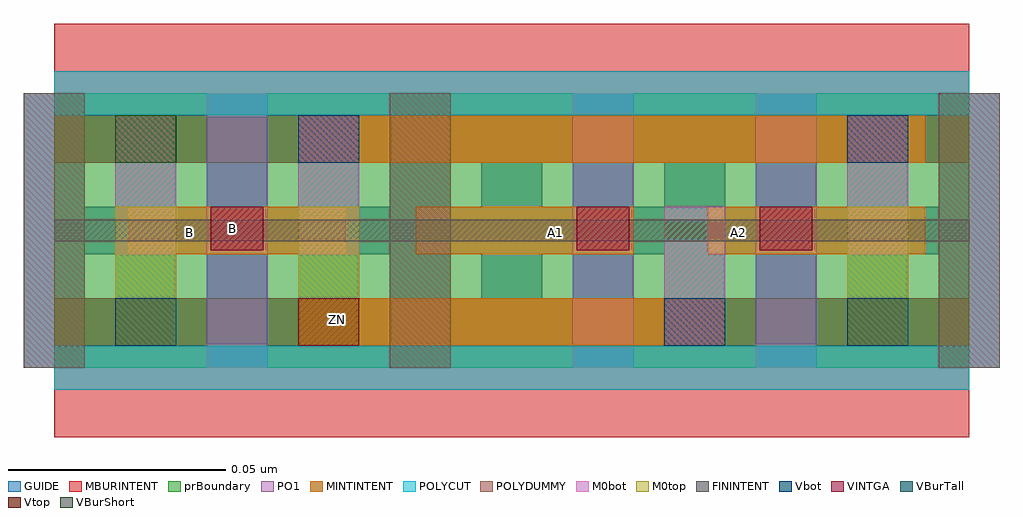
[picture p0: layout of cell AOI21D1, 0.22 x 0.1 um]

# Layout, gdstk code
import gdstk
lib = gdstk.Library(unit=1e-6, precision=1e-09)
def R(c, l, rs):  # rectangles x0, y0, x1, y1
    for r in rs: c.add(gdstk.rectangle(r[:2], r[2:], *l))
def A(c, l, x, y, w, h, nx, ny, dx, dy):  # array of equal rectangles
    R(c, l, [(x+i*dx, y+j*dy, x+i*dx+w, y+j*dy+h) for i in range(nx) for j in range(ny)])
MBURINTENT = (1, 0)
FININTENT = (2, 0)
PO1 = (10, 0)
POLYDUMMY = (11, 0)
POLYCUT = (12, 0)
M0bot = (20, 0)
M0top = (21, 0)
VBurShort = (30, 0)
VBurTall = (31, 0)
Vbot = (40, 0)
Vtop = (41, 0)
VINTGA = (42, 0)
MINTINTENT = (50, 0)
prBoundary = (100, 0)
GUIDE = (200, 0)

aoi21d1 = lib.new_cell('AOI21D1')
R(aoi21d1, MBURINTENT, [(0,-0.016,0.21,0.016), (0,0.047,0.21,0.079)])
R(aoi21d1, FININTENT, [(0,0.029,0.21,0.034)])
R(aoi21d1, PO1, [(0.035,0,0.049,0.063), (0.035,0,0.049,0.063), (0.119,0,0.133,0.063), (0.119,0,0.133,0.063), (0.161,0,0.175,0.063)])
R(aoi21d1, POLYDUMMY, [(-0.007,0,0.007,0.063), (0.077,0,0.091,0.063), (0.203,0,0.217,0.063)])
R(aoi21d1, POLYCUT, [(0,-0.005,0.21,0.005), (0,0.058,0.21,0.068)])
R(aoi21d1, M0bot, [(0.14,0.005,0.154,0.037), (0.014,0.026,0.028,0.058), (0.056,0.026,0.07,0.058), (0.182,0.026,0.196,0.058)])
R(aoi21d1, M0top, [(0.014,0.005,0.028,0.037), (0.056,0.005,0.07,0.037), (0.182,0.005,0.196,0.037)])
R(aoi21d1, VBurShort, [(0.014,0.047,0.028,0.058)])
R(aoi21d1, VBurTall, [(0.014,0.005,0.028,0.016), (0.182,0.005,0.196,0.016)])
R(aoi21d1, Vbot, [(0.14,0.005,0.154,0.016), (0.056,0.047,0.07,0.058), (0.182,0.047,0.196,0.058)])
R(aoi21d1, Vtop, [(0.056,0.005,0.07,0.016)])
R(aoi21d1, VINTGA, [(0.036,0.027,0.048,0.037), (0.12,0.027,0.132,0.037), (0.162,0.027,0.174,0.037)])
R(aoi21d1, MINTINTENT, [(0.056,0.005,0.154,0.016), (0.017,0.026,0.067,0.037), (0.083,0.026,0.133,0.037), (0.15,0.026,0.2,0.037), (0.056,0.047,0.2,0.058)])
R(aoi21d1, prBoundary, [(0,0,0.21,0.063)])
A(aoi21d1, GUIDE, -0.007, 0, 0.014, 0.063, 6, 1, 0.042, 0)
A(aoi21d1, GUIDE, 0, 0.005, 0.21, 0.011, 1, 3, 0, 0.021)
A(aoi21d1, GUIDE, 0.014, 0.005, 0.014, 0.053, 5, 1, 0.042, 0)
aoi21d1.add(gdstk.Label('B', (0.041,0.032), layer=2, texttype=0))
aoi21d1.add(gdstk.Label('B', (0.042,0.032), layer=2, texttype=0))
aoi21d1.add(gdstk.Label('B', (0.031,0.031), layer=2, texttype=0))
aoi21d1.add(gdstk.Label('A1', (0.115,0.031), layer=2, texttype=0))
aoi21d1.add(gdstk.Label('A2', (0.157,0.031), layer=2, texttype=0))
aoi21d1.add(gdstk.Label('T1', (-0.02,0.052), layer=200, texttype=0))
aoi21d1.add(gdstk.Label('T2', (-0.02,0.031), layer=200, texttype=0))
aoi21d1.add(gdstk.Label('T3', (-0.02,0.01), layer=200, texttype=0))
aoi21d1.add(gdstk.Label('S/D1', (0.021,-0.024), layer=200, texttype=0))
aoi21d1.add(gdstk.Label('S/D2', (0.063,-0.024), layer=200, texttype=0))
aoi21d1.add(gdstk.Label('S/D3', (0.105,-0.024), layer=200, texttype=0))
aoi21d1.add(gdstk.Label('S/D4', (0.147,-0.024), layer=200, texttype=0))
aoi21d1.add(gdstk.Label('S/D5', (0.189,-0.024), layer=200, texttype=0))
aoi21d1.add(gdstk.Label('ZN', (0.065,0.011), layer=50, texttype=0))

lib.write_gds('AOI21D1.gds')
